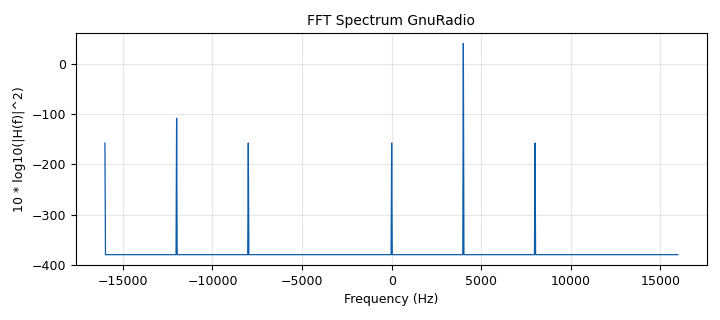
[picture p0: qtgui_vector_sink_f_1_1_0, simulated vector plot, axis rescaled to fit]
options:
  parameters:
    author: jreitmei
    comment: |-
      This example showcases the RFNoC FFT block 
      integrated with the GNU Radio framework, 
      highlighting the available FFT shift configurations. 
      It also emphasizes that the FFT may experience 
      clipping when the input levels are too high.
      The levels can be controlled through the 
      Source Amplitude & Scaling Divider
    generate_options: qt_gui
    generator_class_name: PythonQtGuiGenerator
    generator_module: gnuradio.grc.workflows.python_qt_gui
    id: fft_test
    output_language: python
    title: Not titled yet
  states: {}

blocks:
- name: cp_len
  id: variable
  parameters:
    value: int(fft_len/4)
  states: {}
- name: fft_len
  id: variable
  parameters:
    value: '1024'
  states: {}
- name: samp_rate
  id: variable
  parameters:
    value: 32e3
  states: {}
- name: scaling_divider
  id: variable_qtgui_range
  parameters:
    label: Power of scaling Divider
    orient: QtCore.Qt.Orientation.Horizontal
    rangeType: int
    start: '0'
    step: '1'
    stop: '6'
    value: '1'
  states: {}
- name: scaling_factor
  id: variable
  parameters:
    value: 1/(2**scaling_divider)
  states: {}
- name: sin_freq
  id: variable_qtgui_range
  parameters:
    orient: QtCore.Qt.Orientation.Horizontal
    start: '-samp_rate/2'
    step: '10'
    stop: samp_rate/2
    value: 4e3
  states: {}
- name: source_amp
  id: variable_qtgui_range
  parameters:
    label: Source Amplitude
    orient: QtCore.Qt.Orientation.Horizontal
    start: '0.01'
    step: '0.01'
    stop: '1'
    value: '.1'
  states: {}
- name: uhd_rfnoc_graph
  id: uhd_rfnoc_graph
  parameters:
    dev_addr: device_args
    dev_args: f"master_clock_rate={master_clock_rate}"
  states: {}
- name: analog_sig_source_x_0_0
  id: analog_sig_source_x
  parameters:
    amp: source_amp
    freq: sin_freq
    offset: '0'
    phase: '0'
    samp_rate: samp_rate
    type: complex
    waveform: analog.GR_SIN_WAVE
  states: {}
- name: blocks_complex_to_mag_squared_0
  id: blocks_complex_to_mag_squared
  parameters:
    vlen: fft_len
  states: {}
- name: blocks_complex_to_real_0
  id: blocks_complex_to_real
  parameters:
    vlen: fft_len
  states: {}
- name: blocks_multiply_const_vxx_1_0
  id: blocks_multiply_const_vxx
  parameters:
    const: source_amp
    type: complex
  states: {state: disabled}
- name: blocks_nlog10_ff_0_1
  id: blocks_nlog10_ff
  parameters:
    k: '0'
    n: '10'
    vlen: fft_len
  states: {}
- name: blocks_nlog10_ff_0_2
  id: blocks_nlog10_ff
  parameters:
    k: '0'
    n: '10'
    vlen: fft_len
  states: {}
- name: blocks_stream_to_vector_0
  id: blocks_stream_to_vector
  parameters:
    num_items: fft_len
    type: complex
  states: {state: disabled}
- name: blocks_stream_to_vector_0_0
  id: blocks_stream_to_vector
  parameters:
    num_items: fft_len
    type: complex
  states: {}
- name: blocks_throttle2_0
  id: blocks_throttle2
  parameters:
    samples_per_second: samp_rate
    type: complex
  states: {state: disabled}
- name: blocks_throttle2_0_0
  id: blocks_throttle2
  parameters:
    samples_per_second: samp_rate
    type: complex
  states: {}
- name: blocks_vector_source_x_0_1
  id: blocks_vector_source_x
  parameters:
    repeat: 'True'
    tags: ''
    type: complex
    vector: '[0.00+0.09j, -0.03+0.09j, -0.05+0.07j, -0.07+0.06j, -0.08+0.03j, -0.09+0.01j, -0.09-0.02j, -0.08-0.04j, -0.06-0.06j, -0.04-0.08j, -0.02-0.09j, 0.01-0.09j, 0.03-0.08j, 0.06-0.07j, 0.07-0.05j, 0.09-0.03j, 0.09+0.00j, 0.09+0.03j, 0.07+0.05j, 0.06+0.07j, 0.03+0.08j, 0.01+0.09j, -0.02+0.09j, -0.04+0.08j, -0.06+0.06j, -0.08+0.04j, -0.09+0.02j, -0.09-0.01j, -0.08-0.03j, -0.07-0.06j, -0.05-0.07j, -0.03-0.09j, 0.00-0.09j, 0.03-0.09j, 0.05-0.07j, 0.07-0.06j, 0.08-0.03j, 0.09-0.01j, 0.09+0.02j, 0.08+0.04j, 0.06+0.06j, 0.04+0.08j, 0.02+0.09j, -0.01+0.09j, -0.03+0.08j, -0.06+0.07j, -0.07+0.05j, -0.09+0.03j, -0.09+0.00j, -0.09-0.03j, -0.07-0.05j, -0.06-0.07j, -0.03-0.08j, -0.01-0.09j, 0.02-0.09j, 0.04-0.08j, 0.06-0.06j, 0.08-0.04j, 0.09-0.02j, 0.09+0.01j, 0.08+0.03j, 0.07+0.06j, 0.05+0.07j, 0.03+0.09j, 0.00+0.09j, -0.03+0.09j, -0.05+0.07j, -0.07+0.06j, -0.08+0.03j, -0.09+0.01j, -0.09-0.02j, -0.08-0.04j, -0.06-0.06j, -0.04-0.08j, -0.02-0.09j, 0.01-0.09j, 0.03-0.08j, 0.06-0.07j, 0.07-0.05j, 0.09-0.03j, -0.09+0.00j, -0.11-0.02j, -0.12-0.05j, -0.12-0.08j, -0.11-0.11j, -0.10-0.15j, -0.07-0.18j, -0.04-0.20j, 0.00-0.22j, 0.04-0.22j, 0.09-0.22j, 0.14-0.21j, 0.18-0.18j, 0.22-0.15j, 0.25-0.10j, 0.26-0.05j, 0.27+0.00j, 0.26+0.05j, 0.25+0.10j, 0.22+0.15j, 0.18+0.18j, 0.14+0.21j, 0.09+0.22j, 0.04+0.22j, 0.00+0.22j, -0.04+0.20j, -0.07+0.18j, -0.10+0.15j, -0.11+0.11j, -0.12+0.08j, -0.12+0.05j, -0.11+0.02j, -0.09+0.00j, -0.07-0.01j, -0.05-0.02j, -0.03-0.02j, -0.01-0.01j, -0.00-0.00j, 0.00+0.01j, 0.00+0.02j, 0.00+0.04j, -0.01+0.05j, -0.02+0.06j, -0.04+0.06j, -0.05+0.05j, -0.07+0.05j, -0.08+0.03j, -0.09+0.02j, -0.09+0.00j, -0.09-0.02j, -0.08-0.03j, -0.07-0.05j, -0.05-0.05j, -0.04-0.06j, -0.02-0.06j, -0.01-0.05j, 0.00-0.04j, 0.00-0.02j, 0.00-0.01j, -0.00+0.00j, -0.01+0.01j, -0.03+0.02j, -0.05+0.02j, -0.07+0.01j, -0.09+0.00j, -0.11-0.02j, -0.12-0.05j, -0.12-0.08j, -0.11-0.11j, -0.10-0.15j, -0.07-0.18j, -0.04-0.20j, 0.00-0.22j, 0.04-0.22j, 0.09-0.22j, 0.14-0.21j, 0.18-0.18j, 0.22-0.15j, 0.25-0.10j, 0.26-0.05j] '
  states: {state: disabled}
- name: device_args
  id: parameter
  parameters:
    short_id: a
    type: str
    value: '"addr=192.168.40.2"'
  states: {}
- name: digital_ofdm_cyclic_prefixer_0_0
  id: digital_ofdm_cyclic_prefixer
  parameters:
    cp_len: cp_len
    input_size: fft_len
    tagname: ''
  states: {state: disabled}
- name: fft_vxx_0_0
  id: fft_vxx
  parameters:
    fft_size: fft_len
    forward: 'True'
    shift: 'True'
    type: complex
    window: '[]'
  states: {}
- name: master_clock_rate
  id: parameter
  parameters:
    label: Master Clock Rate
    short_id: m
    type: eng_float
    value: 200e6
  states: {}
- name: qtgui_vector_sink_f_1
  id: qtgui_vector_sink_f
  parameters:
    grid: 'True'
    name: '"FFT Spectrum RFNoC"'
    vlen: fft_len
    x_axis_label: '"Frequency (Hz)"'
    x_start: '-samp_rate/2'
    x_step: samp_rate/fft_len
    x_units: '"Hz"'
    y_axis_label: '"10 * log10(|H(f)|^2)"'
    y_units: '"dB"'
    ymax: '50'
    ymin: '-50'
  states: {}
- name: qtgui_vector_sink_f_1_1_0
  id: qtgui_vector_sink_f
  parameters:
    grid: 'True'
    name: '"FFT Spectrum GnuRadio"'
    vlen: fft_len
    x_axis_label: '"Frequency (Hz)"'
    x_start: '-samp_rate/2'
    x_step: samp_rate/fft_len
    x_units: '"Hz"'
    y_axis_label: '"10 * log10(|H(f)|^2)"'
    y_units: '"dB"'
    ymax: '50'
    ymin: '-50'
  states: {}
- name: uhd_rfnoc_fft_0
  id: uhd_rfnoc_fft
  parameters:
    device_select: '0'
    fft_bypass_mode: 'False'
    fft_cp_insertion_list: '[0]'
    fft_cp_removal_list: '[0]'
    fft_direction: FORWARD
    fft_length: fft_len
    fft_magnitude: MAGNITUDE_SQUARED
    fft_scaling: '0'
    fft_scaling_factor: scaling_factor
    fft_shift_config: NORMAL
    instance_index: '2'
    scaling_version: Scaling Factor
  states: {}
- name: uhd_rfnoc_rx_streamer_0
  id: uhd_rfnoc_rx_streamer
  parameters:
    issue_stream_cmd: 'True'
    otw: sc16
    output_type: fc32
    vlen: fft_len
  states: {}
- name: uhd_rfnoc_tx_streamer_0
  id: uhd_rfnoc_tx_streamer
  parameters:
    input_type: fc32
    otw: sc16
  states: {}
- name: virtual_sink_0
  id: virtual_sink
  parameters:
    stream_id: time_signal_with_cp
  states: {state: disabled}

connections:
- [analog_sig_source_x_0_0, '0', blocks_throttle2_0_0, '0']
- [blocks_complex_to_mag_squared_0, '0', blocks_nlog10_ff_0_2, '0']
- [blocks_complex_to_real_0, '0', blocks_nlog10_ff_0_1, '0']
- [blocks_multiply_const_vxx_1_0, '0', blocks_throttle2_0, '0']
- [blocks_nlog10_ff_0_1, '0', qtgui_vector_sink_f_1, '0']
- [blocks_nlog10_ff_0_2, '0', qtgui_vector_sink_f_1_1_0, '0']
- [blocks_stream_to_vector_0, '0', digital_ofdm_cyclic_prefixer_0_0, '0']
- [blocks_stream_to_vector_0_0, '0', fft_vxx_0_0, '0']
- [blocks_throttle2_0, '0', blocks_stream_to_vector_0, '0']
- [blocks_throttle2_0_0, '0', blocks_stream_to_vector_0_0, '0']
- [blocks_throttle2_0_0, '0', uhd_rfnoc_tx_streamer_0, '0']
- [blocks_vector_source_x_0_1, '0', blocks_multiply_const_vxx_1_0, '0']
- [digital_ofdm_cyclic_prefixer_0_0, '0', virtual_sink_0, '0']
- [fft_vxx_0_0, '0', blocks_complex_to_mag_squared_0, '0']
- {params: {is_back_edge: 'False'}, snk_blk_id: uhd_rfnoc_rx_streamer_0, snk_port_id: '0', src_blk_id: uhd_rfnoc_fft_0, src_port_id: '0'}
- [uhd_rfnoc_rx_streamer_0, '0', blocks_complex_to_real_0, '0']
- {params: {is_back_edge: 'False'}, snk_blk_id: uhd_rfnoc_fft_0, snk_port_id: '0', src_blk_id: uhd_rfnoc_tx_streamer_0, src_port_id: '0'}

metadata:
  file_format: 2
  grc_version: v3.11.0.0git-979-gcf0063e1
